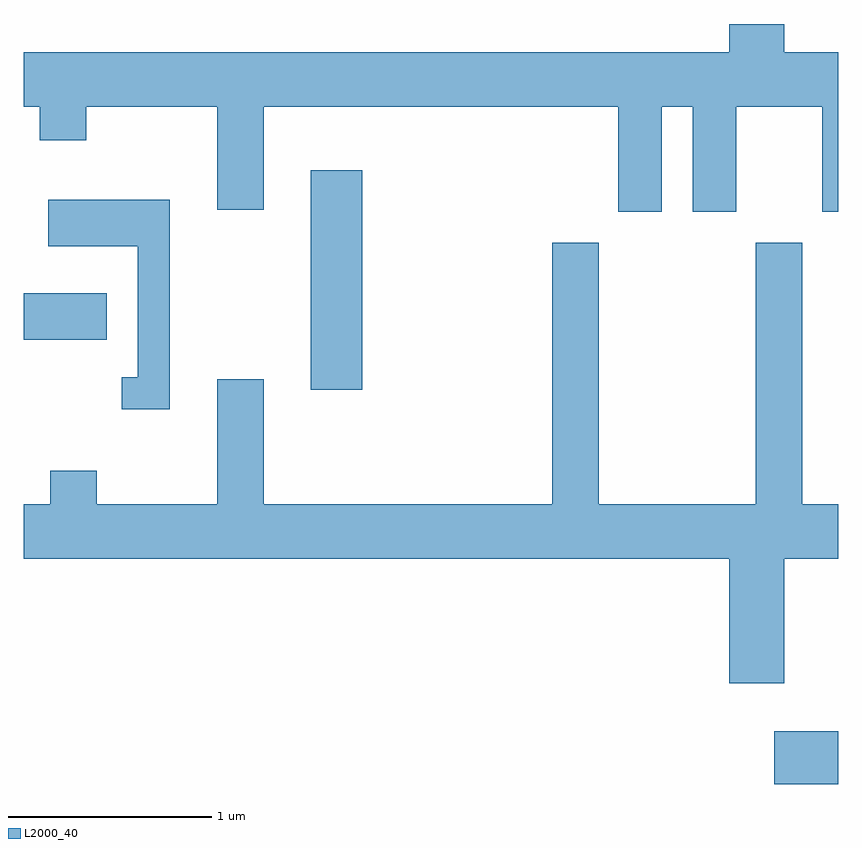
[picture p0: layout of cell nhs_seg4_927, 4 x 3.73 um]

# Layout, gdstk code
import gdstk
lib = gdstk.Library(unit=1e-6, precision=1e-09)
def R(c, l, rs):  # rectangles x0, y0, x1, y1
    for r in rs: c.add(gdstk.rectangle(r[:2], r[2:], *l))
def P(c, l, *ps):  # polygons
    for p in ps: c.add(gdstk.Polygon(p, *l))
L2000_40 = (2000, 40)

nhs_seg4_927 = lib.new_cell('nhs_seg4_927')
R(nhs_seg4_927, L2000_40, [(215.296,1340.251,215.611,1340.509), (213.021,1342.186,213.274,1343.264), (211.611,1342.431,212.019,1342.659)])
P(nhs_seg4_927, L2000_40, [(214.744,1343.576),(214.896,1343.576),(214.896,1343.061),(215.109,1343.061),(215.109,1343.576),(215.531,1343.576),(215.531,1343.061),(215.611,1343.061),(215.611,1343.844),(215.344,1343.844),(215.344,1343.982),(215.076,1343.982),(215.076,1343.844),(211.611,1343.844),(211.611,1343.576),(211.691,1343.576),(211.691,1343.411),(211.919,1343.411),(211.919,1343.576),(212.561,1343.576),(212.561,1343.071),(212.789,1343.071),(212.789,1343.576),(214.531,1343.576),(214.531,1343.061),(214.744,1343.061)],
  [(212.329,1343.119),(211.731,1343.119),(211.731,1342.891),(212.171,1342.891),(212.171,1342.249),(212.093,1342.249),(212.093,1342.091),(212.329,1342.091)],
  [(215.344,1341.356),(215.611,1341.356),(215.611,1341.624),(215.434,1341.624),(215.434,1342.909),(215.206,1342.909),(215.206,1341.624),(214.434,1341.624),(214.434,1342.909),(214.206,1342.909),(214.206,1341.624),(212.789,1341.624),(212.789,1342.239),(212.561,1342.239),(212.561,1341.624),(211.969,1341.624),(211.969,1341.789),(211.741,1341.789),(211.741,1341.624),(211.611,1341.624),(211.611,1341.356),(215.076,1341.356),(215.076,1340.746),(215.344,1340.746)])

lib.write_gds('nhs_seg4_927.gds')
